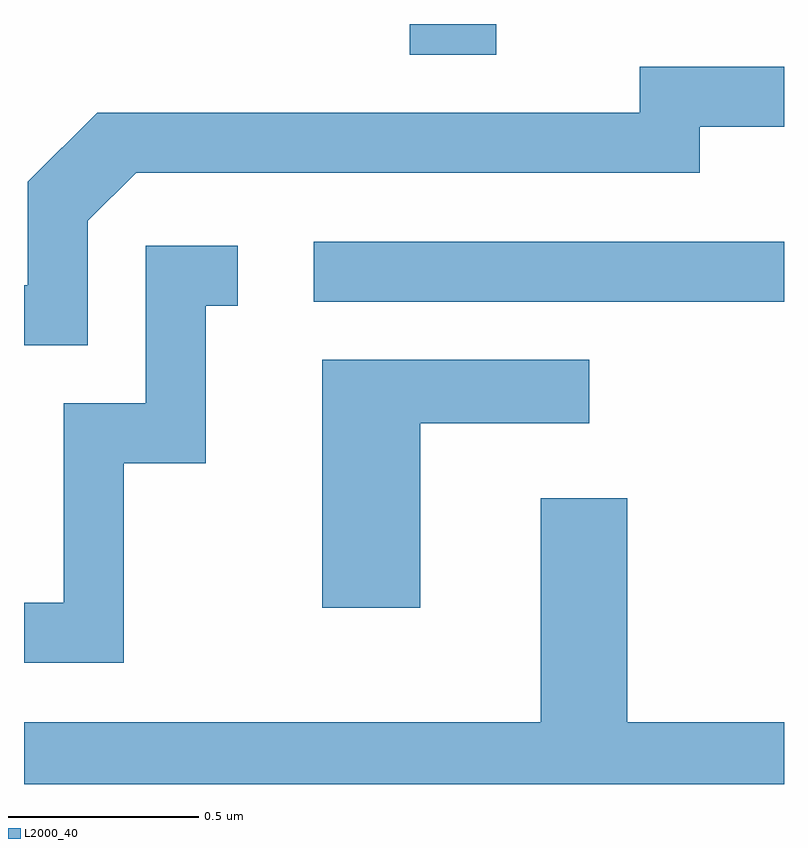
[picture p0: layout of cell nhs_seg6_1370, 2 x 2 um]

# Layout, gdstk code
import gdstk
lib = gdstk.Library(unit=1e-6, precision=1e-09)
def R(c, l, rs):  # rectangles x0, y0, x1, y1
    for r in rs: c.add(gdstk.rectangle(r[:2], r[2:], *l))
def P(c, l, *ps):  # polygons
    for p in ps: c.add(gdstk.Polygon(p, *l))
L2000_40 = (2000, 40)

nhs_seg6_1370 = lib.new_cell('nhs_seg6_1370')
R(nhs_seg6_1370, L2000_40, [(196.373,1531.431,197.611,1531.589), (196.626,1532.081,196.854,1532.162)])
P(nhs_seg6_1370, L2000_40, [(195.779,1531.644),(195.907,1531.771),(197.389,1531.771),(197.389,1531.891),(197.611,1531.891),(197.611,1532.049),(197.231,1532.049),(197.231,1531.929),(195.804,1531.929),(195.621,1531.747),(195.621,1531.474),(195.611,1531.474),(195.611,1531.316),(195.779,1531.316)],
  [(195.874,1531.006),(196.089,1531.006),(196.089,1531.421),(196.173,1531.421),(196.173,1531.579),(195.931,1531.579),(195.931,1531.164),(195.716,1531.164),(195.716,1530.639),(195.611,1530.639),(195.611,1530.481),(195.874,1530.481)],
  [(196.654,1531.111),(197.098,1531.111),(197.098,1531.279),(196.396,1531.279),(196.396,1530.626),(196.654,1530.626)],
  [(197.611,1530.324),(197.199,1530.324),(197.199,1530.914),(196.971,1530.914),(196.971,1530.324),(195.611,1530.324),(195.611,1530.162),(197.611,1530.162)])

lib.write_gds('nhs_seg6_1370.gds')
